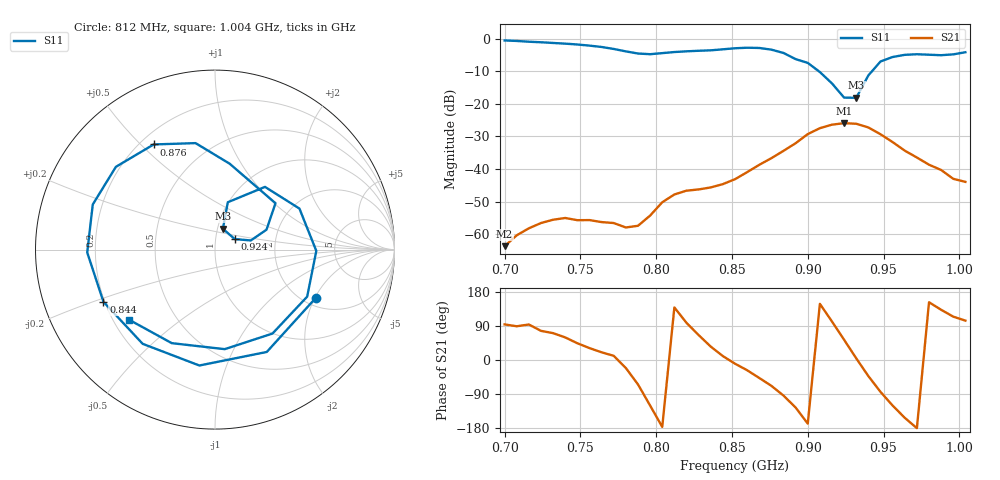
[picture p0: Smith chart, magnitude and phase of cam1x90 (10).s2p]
# Hz S RI R 50
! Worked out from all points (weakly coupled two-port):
!   39 points, 700 MHz to 1.004 GHz, reference 50 ohm
!   highest |S21| = -25.92 dB at 924 MHz (marker M1); lowest = -63.6 dB at 700 MHz (marker M2)
!   lowest |S11| = -18.1 dB at 932 MHz (marker M3), VSWR 1.28, Z = 53.1 + j12.5 ohm
!   |S11| at or under -10 dB: 907.3 MHz to 942.4 MHz (35.05 MHz wide, 3.79 % of centre)
!   S12 and S22 are empty: the file has one direction only
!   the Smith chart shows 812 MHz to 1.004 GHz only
!   S11 on the Smith chart (normalised r, x): 812 MHz: 2.33, -2.04; 844 MHz: 0.19, -0.21; 876 MHz: 0.25, +0.55; 924 MHz: 1.24, +0.15; 1.004 GHz: 0.26, -0.33
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7e8  0.7587 0.5514  -4.51e-05 0.000657  0 0  0 0
7.24e8  0.8455 -0.2442  0.000338 0.00145  0 0  0 0
7.4e8  0.4605 -0.7002  0.000902 0.00154  0 0  0 0
7.56e8  -0.1895 -0.7584  0.00141 0.000861  0 0  0 0
7.72e8  -0.6641 -0.2042  0.00146 0.000284  0 0  0 0
7.8e8  -0.5991 0.2182  0.00119 -0.000462  0 0  0 0
7.88e8  -0.2586 0.5319  0.000584 -0.00122  0 0  0 0
7.96e8  0.228 0.5306  -0.000976 -0.00168  0 0  0 0
8.04e8  0.5686 0.1904  -0.0031 -0.000185  0 0  0 0
8.12e8  0.563 -0.2674  -0.00307 0.0027  0 0  0 0
8.28e8  -0.0872 -0.6458  0.002 0.00445  0 0  0 0
8.44e8  -0.6216 -0.2907  0.00579 0.00105  0 0  0 0
8.52e8  -0.7119 -0.0159  0.0069 -0.00119  0 0  0 0
8.76e8  -0.3418 0.5858  0.00548 -0.0137  0 0  0 0
9e8  0.337 0.2584  -0.0336 -0.00725  0 0  0 0
9.08e8  0.2869 0.1109  -0.0361 0.0223  0 0  0 0
9.24e8  0.11 0.0587  0.0303 0.0405  0 0  0 0
9.32e8  0.044 0.1159  0.0494 0.0037  0 0  0 0
9.48e8  0.2786 0.3494  0.0035 -0.034  0 0  0 0
9.56e8  0.4704 0.2286  -0.0131 -0.0224  0 0  0 0
9.8e8  0.3202 -0.4678  -0.0104 0.00541  0 0  0 0
1.004e9  -0.4808 -0.3896  -0.00153 0.00619  0 0  0 0
